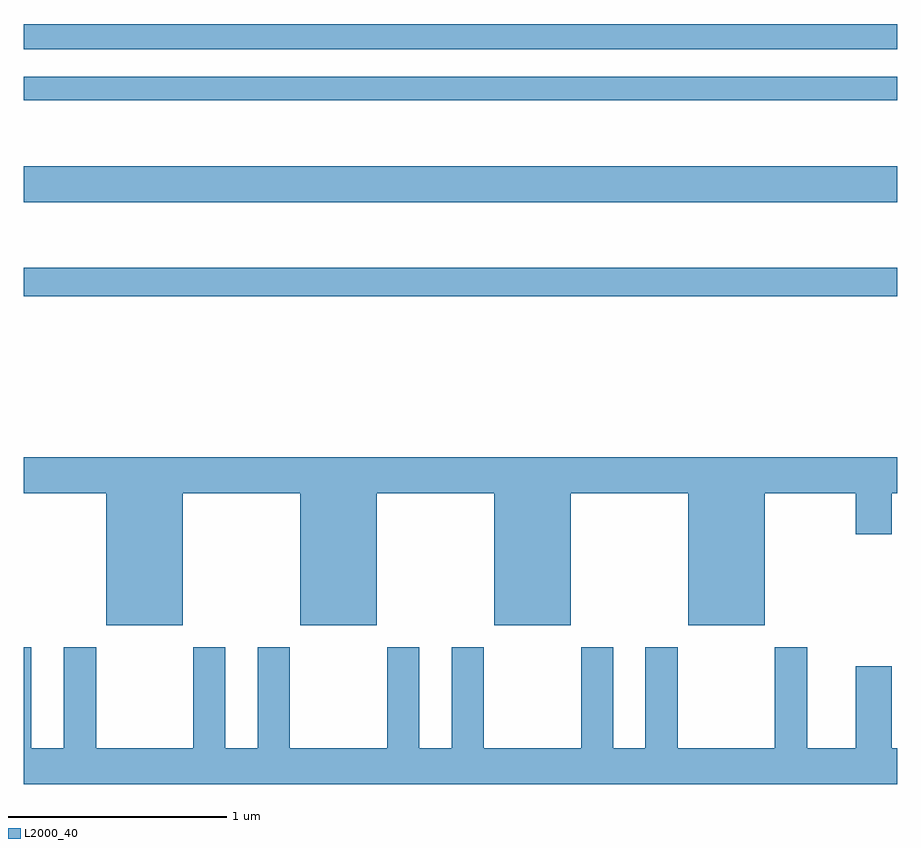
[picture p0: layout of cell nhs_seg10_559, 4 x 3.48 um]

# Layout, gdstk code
import gdstk
lib = gdstk.Library(unit=1e-6, precision=1e-09)
def R(c, l, rs):  # rectangles x0, y0, x1, y1
    for r in rs: c.add(gdstk.rectangle(r[:2], r[2:], *l))
def P(c, l, *ps):  # polygons
    for p in ps: c.add(gdstk.Polygon(p, *l))
L2000_40 = (2000, 40)

nhs_seg10_559 = lib.new_cell('nhs_seg10_559')
R(nhs_seg10_559, L2000_40, [(137,1329.19,141,1329.319), (137,1329.62,141,1329.784), (137,1330.086,141,1330.194), (137,1330.32,141,1330.436)])
P(nhs_seg10_559, L2000_40, [(137.728,1328.288),(138.266,1328.288),(138.266,1327.682),(138.616,1327.682),(138.616,1328.288),(139.154,1328.288),(139.154,1327.682),(139.504,1327.682),(139.504,1328.288),(140.042,1328.288),(140.042,1327.682),(140.392,1327.682),(140.392,1328.288),(140.81,1328.288),(140.81,1328.1),(140.974,1328.1),(140.974,1328.288),(141,1328.288),(141,1328.452),(137,1328.452),(137,1328.288),(137.378,1328.288),(137.378,1327.682),(137.728,1327.682)],
  [(141,1327.12),(140.974,1327.12),(140.974,1327.495),(140.81,1327.495),(140.81,1327.12),(140.587,1327.12),(140.587,1327.582),(140.44,1327.582),(140.44,1327.12),(139.995,1327.12),(139.995,1327.582),(139.847,1327.582),(139.847,1327.12),(139.699,1327.12),(139.699,1327.582),(139.552,1327.582),(139.552,1327.12),(139.107,1327.12),(139.107,1327.582),(138.959,1327.582),(138.959,1327.12),(138.811,1327.12),(138.811,1327.582),(138.664,1327.582),(138.664,1327.12),(138.219,1327.12),(138.219,1327.582),(138.071,1327.582),(138.071,1327.12),(137.923,1327.12),(137.923,1327.582),(137.776,1327.582),(137.776,1327.12),(137.331,1327.12),(137.331,1327.582),(137.183,1327.582),(137.183,1327.12),(137.035,1327.12),(137.035,1327.582),(137,1327.582),(137,1326.956),(141,1326.956)])

lib.write_gds('nhs_seg10_559.gds')
